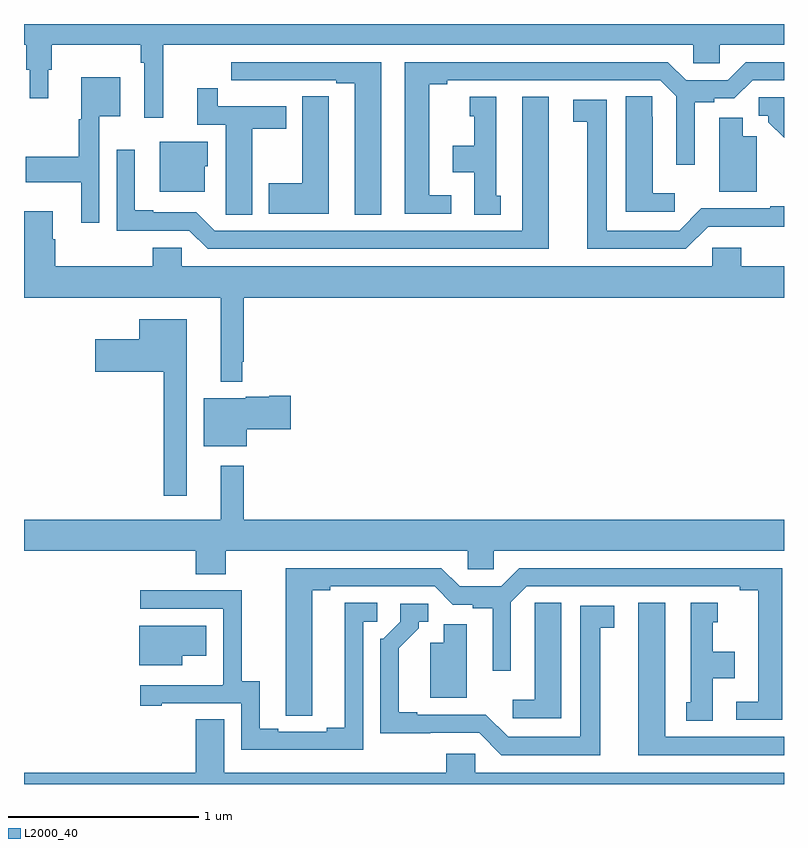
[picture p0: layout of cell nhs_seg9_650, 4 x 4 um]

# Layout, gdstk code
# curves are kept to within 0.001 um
import gdstk
lib = gdstk.Library(unit=1e-6, precision=1e-09)
def P(c, l, *ps):  # polygons
    for p in ps: c.add(gdstk.Polygon(p, *l))
L2000_40 = (2000, 40)

nhs_seg9_650 = lib.new_cell('nhs_seg9_650')
P(nhs_seg9_650, L2000_40, [(143.732,1224.392),(146.523,1224.392),(146.523,1224.294),(146.661,1224.294),(146.661,1224.392),(147,1224.392),(147,1224.5),(143,1224.5),(143,1224.392),(143.011,1224.392),(143.011,1224.258),(143.03,1224.258),(143.03,1224.108),(143.128,1224.108),(143.128,1224.258),(143.147,1224.258),(143.147,1224.392),(143.614,1224.392),(143.614,1224.296),(143.634,1224.296),(143.634,1224.006),(143.732,1224.006)],
  [(144.88,1224.3),(144.09,1224.3),(144.09,1224.204),(144.202,1224.204),(144.202,1224.203),(144.368,1224.203),(144.368,1224.204),(144.644,1224.204),(144.644,1224.189),(144.74,1224.189),(144.74,1223.497),(144.88,1223.497)],
  [(145.249,1223.598),(145.132,1223.598),(145.132,1224.184),(145.228,1224.184),(145.228,1224.204),(146.349,1224.204),(146.433,1224.12),(146.433,1223.76),(146.53,1223.76),(146.53,1224.088),(146.634,1224.088),(146.634,1224.108),(146.739,1224.108),(146.835,1224.204),(147,1224.204),(147,1224.3),(146.799,1224.3),(146.703,1224.204),(146.485,1224.204),(146.389,1224.3),(145.004,1224.3),(145.004,1223.502),(145.249,1223.502)],
  [(143.397,1224.014),(143.506,1224.014),(143.506,1224.22),(143.3,1224.22),(143.3,1224),(143.289,1224),(143.289,1223.801),(143.01,1223.801),(143.01,1223.666),(143.3,1223.666),(143.3,1223.454),(143.397,1223.454)],
  [(144.202,1223.95),(144.379,1223.95),(144.379,1224.066),(144.02,1224.066),(144.02,1224.163),(143.912,1224.163),(143.912,1223.97),(144.062,1223.97),(144.062,1223.608),(144.063,1223.608),(144.063,1223.497),(144.202,1223.497)],
  [(144.604,1224.011),(144.603,1224.011),(144.603,1224.119),(144.464,1224.119),(144.464,1223.661),(144.287,1223.661),(144.287,1223.501),(144.604,1223.501)],
  [(146.425,1223.608),(146.308,1223.608),(146.308,1224.011),(146.307,1224.011),(146.307,1224.119),(146.168,1224.119),(146.168,1223.511),(146.425,1223.511)],
  [(145.762,1224.118),(145.622,1224.118),(145.622,1223.412),(144.003,1223.412),(143.907,1223.508),(143.68,1223.508),(143.68,1223.521),(143.584,1223.521),(143.584,1223.839),(143.487,1223.839),(143.487,1223.412),(143.871,1223.412),(143.967,1223.316),(145.762,1223.316)],
  [(145.51,1223.595),(145.486,1223.595),(145.486,1224.118),(145.346,1224.118),(145.346,1224.015),(145.37,1224.015),(145.37,1223.86),(145.256,1223.86),(145.256,1223.72),(145.37,1223.72),(145.37,1223.497),(145.51,1223.497)],
  [(147,1224.114),(146.868,1224.114),(146.868,1224.018),(146.918,1224.018),(146.918,1223.983),(147,1223.901)],
  [(146.601,1223.433),(147,1223.432),(147,1223.542),(146.927,1223.542),(146.927,1223.529),(146.565,1223.529),(146.448,1223.412),(146.068,1223.412),(146.068,1224.102),(145.89,1224.102),(145.89,1223.986),(145.964,1223.986),(145.964,1223.316),(146.484,1223.316)],
  [(146.857,1223.908),(146.782,1223.908),(146.782,1224.007),(146.66,1224.007),(146.66,1223.618),(146.857,1223.618)],
  [(143.95,1223.751),(143.968,1223.751),(143.968,1223.881),(143.714,1223.881),(143.714,1223.618),(143.95,1223.618)],
  [(144.035,1222.616),(144.149,1222.616),(144.149,1222.723),(144.157,1222.723),(144.157,1223.06),(147,1223.06),(147,1223.224),(146.774,1223.224),(146.774,1223.322),(146.622,1223.322),(146.622,1223.224),(143.829,1223.224),(143.829,1223.322),(143.678,1223.322),(143.678,1223.224),(143.165,1223.224),(143.165,1223.366),(143.152,1223.366),(143.152,1223.515),(143,1223.515),(143,1223.06),(144.035,1223.06)],
  [(143.857,1222.945),(143.606,1222.945),(143.606,1222.84),(143.376,1222.84),(143.376,1222.67),(143.736,1222.67),(143.736,1222.017),(143.857,1222.017)],
  [(144.172,1222.366),(144.403,1222.366),(144.403,1222.544),(144.29,1222.544),(144.29,1222.537),(144.168,1222.537),(144.168,1222.531),(143.945,1222.531),(143.945,1222.277),(144.172,1222.277)],
  [(144.063,1221.728),(145.335,1221.728),(145.335,1221.63),(145.473,1221.63),(145.473,1221.728),(147,1221.728),(147,1221.892),(144.157,1221.892),(144.157,1222.174),(144.035,1222.174),(144.035,1221.892),(143,1221.892),(143,1221.728),(143.903,1221.728),(143.903,1221.604),(144.063,1221.604)],
  [(146.992,1221.636),(145.607,1221.636),(145.511,1221.54),(145.293,1221.54),(145.197,1221.636),(144.377,1221.636),(144.378,1220.86),(144.517,1220.86),(144.517,1221.52),(144.613,1221.52),(144.613,1221.54),(145.161,1221.54),(145.257,1221.444),(145.362,1221.444),(145.362,1221.424),(145.466,1221.424),(145.466,1221.096),(145.563,1221.096),(145.563,1221.456),(145.647,1221.54),(146.768,1221.54),(146.768,1221.52),(146.864,1221.52),(146.864,1220.934),(146.748,1220.934),(146.748,1220.838),(146.992,1220.838)],
  [(144.786,1221.354),(144.859,1221.354),(144.859,1221.455),(144.689,1221.455),(144.689,1220.795),(144.593,1220.795),(144.593,1220.775),(144.337,1220.775),(144.337,1220.79),(144.241,1220.79),(144.241,1221.041),(144.147,1221.041),(144.147,1221.519),(143.613,1221.519),(143.613,1221.423),(144.048,1221.423),(144.048,1221.022),(144.047,1221.022),(144.047,1221.021),(143.613,1221.021),(143.613,1220.913),(143.725,1220.913),(143.725,1220.925),(144.144,1220.925),(144.144,1220.679),(144.786,1220.679)],
  [(145.828,1221.455),(145.689,1221.455),(145.689,1221.347),(145.688,1221.347),(145.688,1220.944),(145.572,1220.944),(145.572,1220.847),(145.828,1220.847)],
  [(147,1220.748),(146.374,1220.748),(146.374,1221.454),(146.234,1221.454),(146.234,1220.652),(147,1220.652)],
  [(146.626,1221.056),(146.74,1221.056),(146.74,1221.196),(146.626,1221.196),(146.626,1221.351),(146.65,1221.351),(146.65,1221.454),(146.51,1221.454),(146.51,1220.931),(146.486,1220.931),(146.486,1220.833),(146.626,1220.833)],
  [(146.032,1221.322),(146.107,1221.322),(146.107,1221.438),(145.928,1221.438),(145.928,1220.748),(145.548,1220.748),(145.431,1220.865),(145.069,1220.865),(145.069,1220.878),(144.973,1220.878),(144.973,1221.214),(145.078,1221.319),(145.078,1221.354),(145.128,1221.354),(145.128,1221.45),(144.981,1221.45),(144.981,1221.354),(144.891,1221.264),(144.876,1221.264),(144.876,1220.768),(145.395,1220.769),(145.512,1220.652),(146.032,1220.652)],
  [(145.33,1221.342),(145.208,1221.342),(145.208,1221.244),(145.139,1221.244),(145.139,1220.954),(145.33,1220.954)],
  [(143.833,1221.176),(143.959,1221.176),(143.959,1221.334),(143.606,1221.334),(143.606,1221.125),(143.833,1221.125)],
  [(147,1220.56),(145.374,1220.56),(145.374,1220.658),(145.223,1220.658),(145.223,1220.56),(144.055,1220.56),(144.055,1220.84),(143.903,1220.84),(143.903,1220.56),(143,1220.56),(143,1220.5),(147,1220.5)])

lib.write_gds('nhs_seg9_650.gds')
